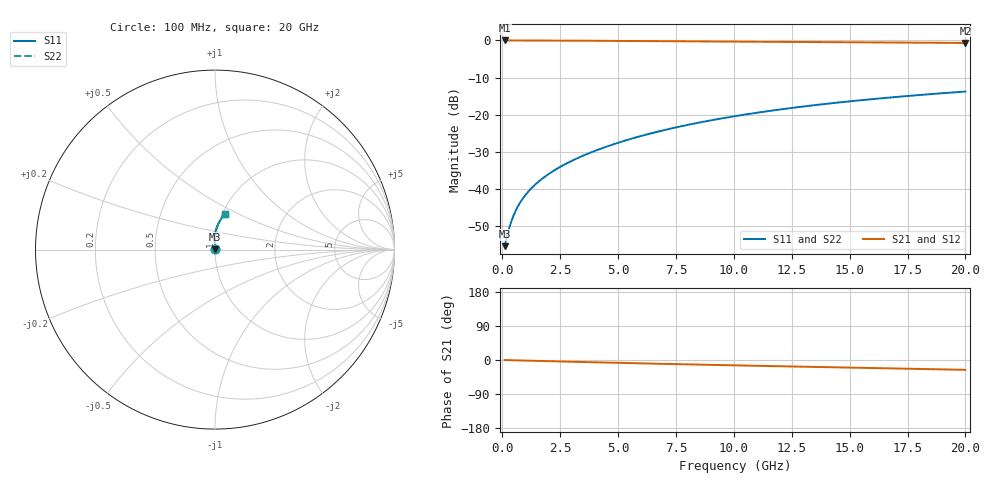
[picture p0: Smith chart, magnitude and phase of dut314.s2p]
! Touchstone file exported from HFSS 2024.1.0
!  File:  C:/UserFiles/LocalFiles/RDL_TSV_Batchsim/temp_RDL_bottom_314_1779610780.aedt
!  Generated:  04:21:53 PM May 24, 2026
!  Design:  RDL_bottom
!  Project:  temp_RDL_bottom_314_1779610780
!  Setup:  Setup1
!  Solution:  Sweep
! Variables:
!  dtsv = 10.80580581um
!  hbump = 3um
!  htsv = 89.44um
!  ldown = 395.07um
!  lrdl = 100um
!  p = 40
!  p1 = 44.88um
!  rhole = 1um
!  t = 450um
!  tdown = 4.47um
!  trdl = 3.915915916um
!  wdown = 26.14um
!  wrdl = 20um
# GHz S MA R 50.000000
! Terminal data exported
! Port[1] = RDL1_T1
! Port[2] = RDL1_T2
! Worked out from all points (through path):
!   200 points, 100 MHz to 20 GHz, reference 50 ohm
!   highest |S21| = -0.01 dB at 100 MHz (marker M1); lowest = -0.7 dB at 20 GHz (marker M2)
!   group delay of S21, straight-line fit = 3.54 ps
!   lowest |S11| = -55.5 dB at 100 MHz (marker M3), VSWR 1.00, Z = 50.1 + j0.0929 ohm
!   |S11| at or under -10 dB: start of sweep to end of sweep
!   |S22| runs from -55.5 to -13.8 dB; largest |S21 - S12| = 3.1e-15
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0.1  0.001684 33.4  0.9986 -0.2  0.9986 -0.2  0.001684 33.4
! Gamma 0 0 0 0
! Port Impedance 50 0 50 0
0.2  0.002268 52.9  0.9984 -0.3  0.9984 -0.3  0.002266 52.9
0.3  0.002971 63.1  0.9983 -0.5  0.9983 -0.5  0.002967 63.2
0.4  0.003715 68.9  0.9982 -0.6  0.9982 -0.6  0.00371 68.9
0.5  0.004472 72.4  0.9981 -0.8  0.9981 -0.8  0.004467 72.4
0.6  0.005233 74.8  0.998 -1.0  0.998 -1.0  0.005227 74.8
0.8  0.006746 77.9  0.9977 -1.3  0.9977 -1.3  0.006741 77.9
1.1  0.008993 80.8  0.9973 -1.7  0.9973 -1.7  0.00899 80.8
1.5  0.01198 83.4  0.9967 -2.4  0.9967 -2.4  0.01198 83.4
2.1  0.01656 86.2  0.9954 -3.3  0.9954 -3.3  0.01656 86.2
2.7  0.02132 88.2  0.9937 -4.2  0.9937 -4.2  0.02132 88.2
3.5  0.02803 90.1  0.9911 -5.4  0.9911 -5.4  0.02802 90.1
4.2  0.03423 91.1  0.9885 -6.4  0.9885 -6.4  0.03423 91.1
5  0.0417 91.7  0.9852 -7.5  0.9852 -7.5  0.04169 91.7
5.9  0.05054 91.9  0.9813 -8.8  0.9813 -8.8  0.05053 91.9
6.8  0.05978 91.7  0.9773 -10.0  0.9773 -10.0  0.05977 91.7
8.4  0.07695 90.6  0.9702 -12.1  0.9702 -12.1  0.07693 90.6
10.1  0.09584 88.7  0.9628 -14.2  0.9628 -14.2  0.09583 88.7
11.7  0.1139 86.6  0.9562 -16.2  0.9562 -16.2  0.1139 86.6
13.4  0.133 84.2  0.9494 -18.2  0.9494 -18.2  0.133 84.2
16.7  0.1695 79.4  0.9367 -22.1  0.9367 -22.1  0.1695 79.4
20  0.2045 74.6  0.9245 -25.9  0.9245 -25.9  0.2045 74.6
